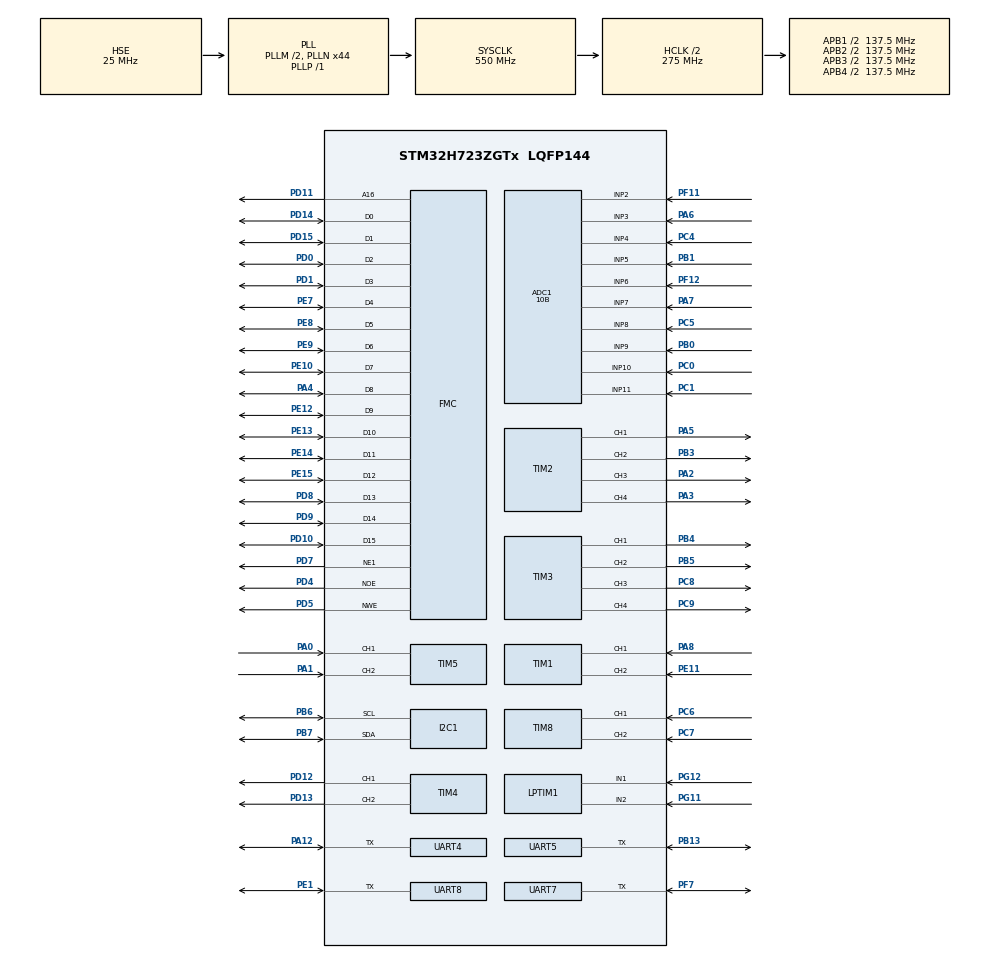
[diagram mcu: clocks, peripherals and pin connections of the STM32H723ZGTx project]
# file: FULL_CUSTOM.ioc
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ADC1.Channel-1\#ChannelRegularConversion=ADC_CHANNEL_2
ADC1.Channel-10\#ChannelRegularConversion=ADC_CHANNEL_11
ADC1.Channel-2\#ChannelRegularConversion=ADC_CHANNEL_3
ADC1.Channel-3\#ChannelRegularConversion=ADC_CHANNEL_4
ADC1.Channel-4\#ChannelRegularConversion=ADC_CHANNEL_5
ADC1.Channel-5\#ChannelRegularConversion=ADC_CHANNEL_6
ADC1.Channel-6\#ChannelRegularConversion=ADC_CHANNEL_7
ADC1.Channel-7\#ChannelRegularConversion=ADC_CHANNEL_8
ADC1.Channel-8\#ChannelRegularConversion=ADC_CHANNEL_9
ADC1.Channel-9\#ChannelRegularConversion=ADC_CHANNEL_10
ADC1.ContinuousConvMode=ENABLE
ADC1.ConversionDataManagement=ADC_CONVERSIONDATA_DMA_CIRCULAR
ADC1.EOCSelection=ADC_EOC_SEQ_CONV
ADC1.NbrOfConversion=10
ADC1.NbrOfConversionFlag=1
ADC1.OffsetNumber-1\#ChannelRegularConversion=ADC_OFFSET_NONE
ADC1.OffsetNumber-10\#ChannelRegularConversion=ADC_OFFSET_NONE
ADC1.OffsetNumber-2\#ChannelRegularConversion=ADC_OFFSET_NONE
ADC1.OffsetNumber-3\#ChannelRegularConversion=ADC_OFFSET_NONE
ADC1.OffsetNumber-4\#ChannelRegularConversion=ADC_OFFSET_NONE
ADC1.OffsetNumber-5\#ChannelRegularConversion=ADC_OFFSET_NONE
ADC1.OffsetNumber-6\#ChannelRegularConversion=ADC_OFFSET_NONE
ADC1.OffsetNumber-7\#ChannelRegularConversion=ADC_OFFSET_NONE
ADC1.OffsetNumber-8\#ChannelRegularConversion=ADC_OFFSET_NONE
ADC1.OffsetNumber-9\#ChannelRegularConversion=ADC_OFFSET_NONE
ADC1.OffsetSignedSaturation-1\#ChannelRegularConversion=DISABLE
ADC1.OffsetSignedSaturation-10\#ChannelRegularConversion=DISABLE
ADC1.OffsetSignedSaturation-2\#ChannelRegularConversion=DISABLE
ADC1.OffsetSignedSaturation-3\#ChannelRegularConversion=DISABLE
ADC1.OffsetSignedSaturation-4\#ChannelRegularConversion=DISABLE
ADC1.OffsetSignedSaturation-5\#ChannelRegularConversion=DISABLE
ADC1.OffsetSignedSaturation-6\#ChannelRegularConversion=DISABLE
ADC1.OffsetSignedSaturation-7\#ChannelRegularConversion=DISABLE
ADC1.OffsetSignedSaturation-8\#ChannelRegularConversion=DISABLE
ADC1.OffsetSignedSaturation-9\#ChannelRegularConversion=DISABLE
ADC1.OversamplingMode=ENABLE
ADC1.Rank-1\#ChannelRegularConversion=1
ADC1.Rank-10\#ChannelRegularConversion=10
ADC1.Rank-2\#ChannelRegularConversion=2
ADC1.Rank-3\#ChannelRegularConversion=3
ADC1.Rank-4\#ChannelRegularConversion=4
ADC1.Rank-5\#ChannelRegularConversion=5
ADC1.Rank-6\#ChannelRegularConversion=6
ADC1.Rank-7\#ChannelRegularConversion=7
ADC1.Rank-8\#ChannelRegularConversion=8
ADC1.Rank-9\#ChannelRegularConversion=9
ADC1.Ratio=8
ADC1.Resolution=ADC_RESOLUTION_10B
ADC1.RightBitShift=ADC_RIGHTBITSHIFT_3
ADC1.SamplingTime-1\#ChannelRegularConversion=ADC_SAMPLETIME_810CYCLES_5
ADC1.SamplingTime-10\#ChannelRegularConversion=ADC_SAMPLETIME_810CYCLES_5
ADC1.SamplingTime-2\#ChannelRegularConversion=ADC_SAMPLETIME_810CYCLES_5
ADC1.SamplingTime-3\#ChannelRegularConversion=ADC_SAMPLETIME_810CYCLES_5
ADC1.SamplingTime-4\#ChannelRegularConversion=ADC_SAMPLETIME_810CYCLES_5
ADC1.SamplingTime-5\#ChannelRegularConversion=ADC_SAMPLETIME_810CYCLES_5
ADC1.SamplingTime-6\#ChannelRegularConversion=ADC_SAMPLETIME_810CYCLES_5
ADC1.SamplingTime-7\#ChannelRegularConversion=ADC_SAMPLETIME_810CYCLES_5
ADC1.SamplingTime-8\#ChannelRegularConversion=ADC_SAMPLETIME_810CYCLES_5
ADC1.SamplingTime-9\#ChannelRegularConversion=ADC_SAMPLETIME_810CYCLES_5
ADC1.master=1
CORTEX_M7.default_mode_Activation=1
DMA2D.ColorMode=DMA2D_OUTPUT_RGB565
Dma.ADC1.0.Direction=DMA_PERIPH_TO_MEMORY
Dma.ADC1.0.EventEnable=DISABLE
Dma.ADC1.0.FIFOMode=DMA_FIFOMODE_DISABLE
Dma.ADC1.0.Instance=DMA1_Stream0
Dma.ADC1.0.MemDataAlignment=DMA_MDATAALIGN_HALFWORD
Dma.ADC1.0.MemInc=DMA_MINC_ENABLE
Dma.ADC1.0.Mode=DMA_CIRCULAR
Dma.ADC1.0.PeriphDataAlignment=DMA_PDATAALIGN_HALFWORD
Dma.ADC1.0.PeriphInc=DMA_PINC_DISABLE
Dma.ADC1.0.Polarity=HAL_DMAMUX_REQ_GEN_RISING
Dma.ADC1.0.Priority=DMA_PRIORITY_MEDIUM
Dma.ADC1.0.RequestNumber=1
Dma.ADC1.0.SignalID=NONE
Dma.ADC1.0.SyncEnable=DISABLE
Dma.ADC1.0.SyncPolarity=HAL_DMAMUX_SYNC_NO_EVENT
Dma.ADC1.0.SyncRequestNumber=1
Dma.ADC1.0.SyncSignalID=NONE
Dma.Request0=ADC1
I2C1.Timing=0x60404E72
Mcu.Family=STM32H7
Mcu.Name=STM32H723ZGTx
Mcu.Package=LQFP144
NVIC.DMA1_Stream0_IRQn=true\:0\:0\:false\:false\:true\:false\:true\:true
NVIC.PriorityGroup=NVIC_PRIORITYGROUP_4
PA0.Signal=S_TIM5_CH1
PA1.Signal=S_TIM5_CH2
PA12.Mode=Half_duplex(single_wire_mode)
PA12.Signal=UART4_TX
PA13(JTMS/SWDIO).Mode=Serial_Wire
PA13(JTMS/SWDIO).Signal=DEBUG_JTMS-SWDIO
PA14(JTCK/SWCLK).Mode=Serial_Wire
PA14(JTCK/SWCLK).Signal=DEBUG_JTCK-SWCLK
PA2.Signal=S_TIM2_CH3
PA3.Signal=S_TIM2_CH4
PA4.Signal=FMC_D8_DA8
PA5.Signal=S_TIM2_CH1_ETR
PA6.Signal=ADCx_INP3
PA7.Signal=ADCx_INP7
PA8.Signal=S_TIM1_CH1
PB0.Signal=ADCx_INP9
PB1.Signal=ADCx_INP5
PB13.Mode=Half_duplex(single_wire_mode)
PB13.Signal=UART5_TX
PB3(JTDO/TRACESWO).Signal=S_TIM2_CH2
PB4(NJTRST).Signal=S_TIM3_CH1
PB5.Signal=S_TIM3_CH2
PB6.Mode=I2C
PB6.Signal=I2C1_SCL
PB7.Mode=I2C
PB7.Signal=I2C1_SDA
PC0.Signal=ADCx_INP10
PC1.Signal=ADCx_INP11
PC4.Signal=ADCx_INP4
PC5.Signal=ADCx_INP8
PC6.Signal=S_TIM8_CH1
PC7.Signal=S_TIM8_CH2
PC8.Signal=S_TIM3_CH3
PC9.Signal=S_TIM3_CH4
PD0.Signal=FMC_D2_DA2
PD1.Signal=FMC_D3_DA3
PD10.Signal=FMC_D15_DA15
PD11.Signal=FMC_A16_CLE
PD12.Signal=S_TIM4_CH1
PD13.Signal=S_TIM4_CH2
PD14.Signal=FMC_D0_DA0
PD15.Signal=FMC_D1_DA1
PD4.Signal=FMC_NOE
PD5.Signal=FMC_NWE
PD7.Mode=NorPsramChipSelect1_1
PD7.Signal=FMC_NE1
PD8.Signal=FMC_D13_DA13
PD9.Signal=FMC_D14_DA14
PE1.Mode=Half_duplex(single_wire_mode)
PE1.Signal=UART8_TX
PE10.Signal=FMC_D7_DA7
PE11.Signal=S_TIM1_CH2
PE12.Signal=FMC_D9_DA9
PE13.Signal=FMC_D10_DA10
PE14.Signal=FMC_D11_DA11
PE15.Signal=FMC_D12_DA12
PE7.Signal=FMC_D4_DA4
PE8.Signal=FMC_D5_DA5
PE9.Signal=FMC_D6_DA6
PF11.Mode=IN2-Single-Ended
PF11.Signal=ADC1_INP2
PF12.Mode=IN6-Single-Ended
PF12.Signal=ADC1_INP6
PF7.Mode=Half_duplex(single_wire_mode)
PF7.Signal=UART7_TX
PG11.Mode=Encoder_mode_occur1
PG11.Signal=LPTIM1_IN2
PG12.Mode=Encoder_mode_occur1
PG12.Signal=LPTIM1_IN1
PH0-OSC_IN.Mode=HSE-External-Oscillator
PH0-OSC_IN.Signal=RCC_OSC_IN
PH1-OSC_OUT.Mode=HSE-External-Oscillator
PH1-OSC_OUT.Signal=RCC_OSC_OUT
ProjectManager.HeapSize=0x200
ProjectManager.StackSize=0x400
ProjectManager.TargetToolchain=STM32CubeIDE
RCC.ADCFreq_Value=100000000
RCC.APB1Freq_Value=137500000
RCC.APB2Freq_Value=137500000
RCC.APB3Freq_Value=137500000
RCC.APB4Freq_Value=137500000
RCC.CKPERSourceSelection=RCC_CLKPSOURCE_HSE
RCC.CortexFreq_Value=550000000
RCC.D1PPRE=RCC_APB3_DIV2
RCC.D2PPRE1=RCC_APB1_DIV2
RCC.D2PPRE2=RCC_APB2_DIV2
RCC.D3PPRE=RCC_APB4_DIV2
RCC.DIVM1=2
RCC.DIVM2=2
RCC.DIVN1=44
RCC.DIVN2=16
RCC.DIVP1=1
RCC.EnbaleCSS=false
RCC.HCLKFreq_Value=275000000
RCC.HPRE=RCC_HCLK_DIV2
RCC.PLL2FRACN=0
RCC.PLL3FRACN=0
RCC.PLLFRACN=0
RCC.PLLSourceVirtual=RCC_PLLSOURCE_HSE
RCC.SYSCLKFreq_VALUE=550000000
RCC.SYSCLKSource=RCC_SYSCLKSOURCE_PLLCLK
RCC.USBFreq_Value=275000000
SH.ADCx_INP10.0=ADC1_INP10,IN10-Single-Ended
SH.ADCx_INP11.0=ADC1_INP11,IN11-Single-Ended
SH.ADCx_INP3.0=ADC1_INP3,IN3-Single-Ended
SH.ADCx_INP4.0=ADC1_INP4,IN4-Single-Ended
SH.ADCx_INP5.0=ADC1_INP5,IN5-Single-Ended
SH.ADCx_INP7.0=ADC1_INP7,IN7-Single-Ended
SH.ADCx_INP8.0=ADC1_INP8,IN8-Single-Ended
SH.ADCx_INP9.0=ADC1_INP9,IN9-Single-Ended
SH.FMC_A16_CLE.0=FMC_A16,A16_1
SH.FMC_D0_DA0.0=FMC_D0,16b-d1
SH.FMC_D10_DA10.0=FMC_D10,16b-d1
SH.FMC_D11_DA11.0=FMC_D11,16b-d1
SH.FMC_D12_DA12.0=FMC_D12,16b-d1
SH.FMC_D13_DA13.0=FMC_D13,16b-d1
SH.FMC_D14_DA14.0=FMC_D14,16b-d1
SH.FMC_D15_DA15.0=FMC_D15,16b-d1
SH.FMC_D1_DA1.0=FMC_D1,16b-d1
SH.FMC_D2_DA2.0=FMC_D2,16b-d1
SH.FMC_D3_DA3.0=FMC_D3,16b-d1
SH.FMC_D4_DA4.0=FMC_D4,16b-d1
SH.FMC_D5_DA5.0=FMC_D5,16b-d1
SH.FMC_D6_DA6.0=FMC_D6,16b-d1
SH.FMC_D7_DA7.0=FMC_D7,16b-d1
SH.FMC_D8_DA8.0=FMC_D8,16b-d1
SH.FMC_D9_DA9.0=FMC_D9,16b-d1
SH.FMC_NOE.0=FMC_NOE,Lcd1
SH.FMC_NWE.0=FMC_NWE,Lcd1
SH.S_TIM1_CH1.0=TIM1_CH1,Encoder_Interface
SH.S_TIM1_CH2.0=TIM1_CH2,Encoder_Interface
SH.S_TIM2_CH1_ETR.0=TIM2_CH1,PWM Generation1 CH1
SH.S_TIM2_CH2.0=TIM2_CH2,PWM Generation2 CH2
SH.S_TIM2_CH3.0=TIM2_CH3,PWM Generation3 CH3
SH.S_TIM2_CH4.0=TIM2_CH4,PWM Generation4 CH4
SH.S_TIM3_CH1.0=TIM3_CH1,PWM Generation1 CH1
SH.S_TIM3_CH2.0=TIM3_CH2,PWM Generation2 CH2
SH.S_TIM3_CH3.0=TIM3_CH3,PWM Generation3 CH3
SH.S_TIM3_CH4.0=TIM3_CH4,PWM Generation4 CH4
SH.S_TIM4_CH1.0=TIM4_CH1,PWM Generation1 CH1
SH.S_TIM4_CH2.0=TIM4_CH2,PWM Generation2 CH2
SH.S_TIM5_CH1.0=TIM5_CH1,Encoder_Interface
SH.S_TIM5_CH2.0=TIM5_CH2,Encoder_Interface
SH.S_TIM8_CH1.0=TIM8_CH1,Encoder_Interface
SH.S_TIM8_CH2.0=TIM8_CH2,Encoder_Interface
TIM2.Channel-PWM\ Generation1\ CH1=TIM_CHANNEL_1
TIM2.Channel-PWM\ Generation2\ CH2=TIM_CHANNEL_2
TIM2.Channel-PWM\ Generation3\ CH3=TIM_CHANNEL_3
TIM2.Channel-PWM\ Generation4\ CH4=TIM_CHANNEL_4
TIM3.Channel-PWM\ Generation1\ CH1=TIM_CHANNEL_1
TIM3.Channel-PWM\ Generation2\ CH2=TIM_CHANNEL_2
TIM3.Channel-PWM\ Generation3\ CH3=TIM_CHANNEL_3
TIM3.Channel-PWM\ Generation4\ CH4=TIM_CHANNEL_4
TIM4.Channel-PWM\ Generation1\ CH1=TIM_CHANNEL_1
TIM4.Channel-PWM\ Generation2\ CH2=TIM_CHANNEL_2
VP_CRC_VS_CRC.Mode=CRC_Activate
VP_DMA2D_VS_DMA2D.Mode=DMA2D_Activate
VP_FMAC_VS_FMAC.Mode=FMAC_Activate
VP_MEMORYMAP_VS_MEMORYMAP.Mode=CurAppReg
VP_TIM2_VS_ClockSourceINT.Mode=Internal
VP_TIM3_VS_ClockSourceINT.Mode=Internal
VP_TIM4_VS_ClockSourceINT.Mode=Internal
VP_TIM6_VS_ClockSourceINT.Mode=Enable_Timer
board=custom

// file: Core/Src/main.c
/* USER CODE BEGIN Header */
/**
  ******************************************************************************
  * @file           : main.c
  * @brief          : Main program body
  ******************************************************************************
  * @attention
  *
  * Copyright (c) 2026 STMicroelectronics.
  * All rights reserved.
  *
  * This software is licensed under terms that can be found in the LICENSE file
  * in the root directory of this software component.
  * If no LICENSE file comes with this software, it is provided AS-IS.
  *
  ******************************************************************************
  */
/* USER CODE END Header */
#include "main.h"

/* USER CODE BEGIN Includes */
#include "stdint.h"
/* USER CODE END Includes */

ADC_HandleTypeDef hadc1;
DMA_HandleTypeDef hdma_adc1;

CRC_HandleTypeDef hcrc;

DMA2D_HandleTypeDef hdma2d;

FMAC_HandleTypeDef hfmac;

I2C_HandleTypeDef hi2c1;

LPTIM_HandleTypeDef hlptim1;

TIM_HandleTypeDef htim1;
TIM_HandleTypeDef htim2;
TIM_HandleTypeDef htim3;
TIM_HandleTypeDef htim4;
TIM_HandleTypeDef htim5;
TIM_HandleTypeDef htim6;
TIM_HandleTypeDef htim8;

UART_HandleTypeDef huart4;
UART_HandleTypeDef huart5;
UART_HandleTypeDef huart7;
UART_HandleTypeDef huart8;

SRAM_HandleTypeDef hsram1;

/* USER CODE BEGIN PV */
uint16_t ADC_Value[10];
uint16_t ADC_maped[10];
/* USER CODE END PV */

void SystemClock_Config(void);
static void MPU_Config(void);
static void MX_GPIO_Init(void);
static void MX_DMA_Init(void);
static void MX_ADC1_Init(void);
static void MX_TIM2_Init(void);
static void MX_TIM3_Init(void);
static void MX_TIM4_Init(void);
static void MX_TIM5_Init(void);
static void MX_DMA2D_Init(void);
static void MX_FMC_Init(void);
static void MX_I2C1_Init(void);
static void MX_UART4_Init(void);
static void MX_CRC_Init(void);
static void MX_FMAC_Init(void);
static void MX_TIM6_Init(void);
static void MX_UART5_Init(void);
static void MX_UART7_Init(void);
static void MX_UART8_Init(void);
static void MX_LPTIM1_Init(void);
static void MX_TIM1_Init(void);
static void MX_TIM8_Init(void);
/* USER CODE BEGIN PFP */

//Map function with overflow/underflow protection
uint16_t map(uint16_t input,
		uint16_t input_MIN,uint16_t input_MAX,
		uint16_t output_MIN,uint16_t output_MAX){

	if (input_MAX <= input_MIN)
        return output_MIN;

    if (input <= input_MIN)
        return output_MIN;

    if (input >= input_MAX)
        return output_MAX;

    int32_t input_range  = (int32_t)input_MAX  - input_MIN;
    int32_t output_range = (int32_t)output_MAX - output_MIN;

    return (uint16_t)(((int32_t)(input - input_MIN) * output_range) / input_range + output_MIN);
}

void HAL_ADC_ConvCpltCallback(ADC_HandleTypeDef *hadc){
	for(int i=0;i<10;i++){
		ADC_maped[i]=map(ADC_Value[i],25,1023,0,1023);
	}
}
/* USER CODE END PFP */

int main(void)
{

  /* MPU Configuration--------------------------------------------------------*/
  MPU_Config();

  /* MCU Configuration--------------------------------------------------------*/

  /* Reset of all peripherals, Initializes the Flash interface and the Systick. */
  HAL_Init();

  /* Configure the system clock */
  SystemClock_Config();

  /* Initialize all configured peripherals */
  MX_GPIO_Init();
  MX_DMA_Init();
  MX_ADC1_Init();
  MX_TIM2_Init();
  MX_TIM3_Init();
  MX_TIM4_Init();
  MX_TIM5_Init();
  MX_DMA2D_Init();
  MX_FMC_Init();
  MX_I2C1_Init();
  MX_UART4_Init();
  MX_CRC_Init();
  MX_FMAC_Init();
  MX_TIM6_Init();
  MX_UART5_Init();
  MX_UART7_Init();
  MX_UART8_Init();
  MX_LPTIM1_Init();
  MX_TIM1_Init();
  MX_TIM8_Init();
  /* USER CODE BEGIN 2 */
  //just a tiny difference
  //HAL_ADCEx_Calibration_Start(&hadc1, ADC_CALIB_OFFSET, ADC_SINGLE_ENDED);
  HAL_ADC_Start_DMA(&hadc1, (uint32_t *)ADC_Value, 10);
  /* USER CODE END 2 */

  /* Infinite loop */
  while (1)
  {

  }
}

void SystemClock_Config(void)
{
  RCC_OscInitTypeDef RCC_OscInitStruct = {0};
  RCC_ClkInitTypeDef RCC_ClkInitStruct = {0};

  /** Supply configuration update enable
  */
  HAL_PWREx_ConfigSupply(PWR_LDO_SUPPLY);

  /** Configure the main internal regulator output voltage
  */
  __HAL_PWR_VOLTAGESCALING_CONFIG(PWR_REGULATOR_VOLTAGE_SCALE0);

  while(!__HAL_PWR_GET_FLAG(PWR_FLAG_VOSRDY)) {}

  /** Initializes the RCC Oscillators according to the specified parameters
  * in the RCC_OscInitTypeDef structure.
  */
  RCC_OscInitStruct.OscillatorType = RCC_OSCILLATORTYPE_HSE;
  RCC_OscInitStruct.HSEState = RCC_HSE_ON;
  RCC_OscInitStruct.PLL.PLLState = RCC_PLL_ON;
  RCC_OscInitStruct.PLL.PLLSource = RCC_PLLSOURCE_HSE;
  RCC_OscInitStruct.PLL.PLLM = 2;
  RCC_OscInitStruct.PLL.PLLN = 44;
  RCC_OscInitStruct.PLL.PLLP = 1;
  RCC_OscInitStruct.PLL.PLLQ = 2;
  RCC_OscInitStruct.PLL.PLLR = 2;
  RCC_OscInitStruct.PLL.PLLRGE = RCC_PLL1VCIRANGE_3;
  RCC_OscInitStruct.PLL.PLLVCOSEL = RCC_PLL1VCOWIDE;
  RCC_OscInitStruct.PLL.PLLFRACN = 0;
  if (HAL_RCC_OscConfig(&RCC_OscInitStruct) != HAL_OK)
  {
    Error_Handler();
  }

  /** Initializes the CPU, AHB and APB buses clocks
  */
  RCC_ClkInitStruct.ClockType = RCC_CLOCKTYPE_HCLK|RCC_CLOCKTYPE_SYSCLK
                              |RCC_CLOCKTYPE_PCLK1|RCC_CLOCKTYPE_PCLK2
                              |RCC_CLOCKTYPE_D3PCLK1|RCC_CLOCKTYPE_D1PCLK1;
  RCC_ClkInitStruct.SYSCLKSource = RCC_SYSCLKSOURCE_PLLCLK;
  RCC_ClkInitStruct.SYSCLKDivider = RCC_SYSCLK_DIV1;
  RCC_ClkInitStruct.AHBCLKDivider = RCC_HCLK_DIV2;
  RCC_ClkInitStruct.APB3CLKDivider = RCC_APB3_DIV2;
  RCC_ClkInitStruct.APB1CLKDivider = RCC_APB1_DIV2;
  RCC_ClkInitStruct.APB2CLKDivider = RCC_APB2_DIV2;
  RCC_ClkInitStruct.APB4CLKDivider = RCC_APB4_DIV2;

  if (HAL_RCC_ClockConfig(&RCC_ClkInitStruct, FLASH_LATENCY_3) != HAL_OK)
  {
    Error_Handler();
  }
}

static void MX_ADC1_Init(void)
{

  ADC_MultiModeTypeDef multimode = {0};
  ADC_ChannelConfTypeDef sConfig = {0};

  /** Common config
  */
  hadc1.Instance = ADC1;
  hadc1.Init.ClockPrescaler = ADC_CLOCK_ASYNC_DIV1;
  hadc1.Init.Resolution = ADC_RESOLUTION_10B;
  hadc1.Init.ScanConvMode = ADC_SCAN_ENABLE;
  hadc1.Init.EOCSelection = ADC_EOC_SEQ_CONV;
  hadc1.Init.LowPowerAutoWait = DISABLE;
  hadc1.Init.ContinuousConvMode = ENABLE;
  hadc1.Init.NbrOfConversion = 10;
  hadc1.Init.DiscontinuousConvMode = DISABLE;
  hadc1.Init.ExternalTrigConv = ADC_SOFTWARE_START;
  hadc1.Init.ExternalTrigConvEdge = ADC_EXTERNALTRIGCONVEDGE_NONE;
  hadc1.Init.ConversionDataManagement = ADC_CONVERSIONDATA_DMA_CIRCULAR;
  hadc1.Init.Overrun = ADC_OVR_DATA_PRESERVED;
  hadc1.Init.LeftBitShift = ADC_LEFTBITSHIFT_NONE;
  hadc1.Init.OversamplingMode = ENABLE;
  hadc1.Init.Oversampling.Ratio = 8;
  hadc1.Init.Oversampling.RightBitShift = ADC_RIGHTBITSHIFT_3;
  hadc1.Init.Oversampling.TriggeredMode = ADC_TRIGGEREDMODE_SINGLE_TRIGGER;
  hadc1.Init.Oversampling.OversamplingStopReset = ADC_REGOVERSAMPLING_CONTINUED_MODE;
  if (HAL_ADC_Init(&hadc1) != HAL_OK)
  {
    Error_Handler();
  }

  /** Configure the ADC multi-mode
  */
  multimode.Mode = ADC_MODE_INDEPENDENT;
  if (HAL_ADCEx_MultiModeConfigChannel(&hadc1, &multimode) != HAL_OK)
  {
    Error_Handler();
  }

  /** Configure Regular Channel
  */
  sConfig.Channel = ADC_CHANNEL_2;
  sConfig.Rank = ADC_REGULAR_RANK_1;
  sConfig.SamplingTime = ADC_SAMPLETIME_810CYCLES_5;
  sConfig.SingleDiff = ADC_SINGLE_ENDED;
  sConfig.OffsetNumber = ADC_OFFSET_NONE;
  sConfig.Offset = 0;
  sConfig.OffsetSignedSaturation = DISABLE;
  if (HAL_ADC_ConfigChannel(&hadc1, &sConfig) != HAL_OK)
  {
    Error_Handler();
  }

  /** Configure Regular Channel
  */
  sConfig.Channel = ADC_CHANNEL_3;
  sConfig.Rank = ADC_REGULAR_RANK_2;
  if (HAL_ADC_ConfigChannel(&hadc1, &sConfig) != HAL_OK)
  {
    Error_Handler();
  }

  /** Configure Regular Channel
  */
  sConfig.Channel = ADC_CHANNEL_4;
  sConfig.Rank = ADC_REGULAR_RANK_3;
  if (HAL_ADC_ConfigChannel(&hadc1, &sConfig) != HAL_OK)
  {
    Error_Handler();
  }

  /** Configure Regular Channel
  */
  sConfig.Channel = ADC_CHANNEL_5;
  sConfig.Rank = ADC_REGULAR_RANK_4;
  if (HAL_ADC_ConfigChannel(&hadc1, &sConfig) != HAL_OK)
  {
    Error_Handler();
  }

  /** Configure Regular Channel
  */
  sConfig.Channel = ADC_CHANNEL_6;
  sConfig.Rank = ADC_REGULAR_RANK_5;
  if (HAL_ADC_ConfigChannel(&hadc1, &sConfig) != HAL_OK)
  {
    Error_Handler();
  }

  /** Configure Regular Channel
  */
  sConfig.Channel = ADC_CHANNEL_7;
  sConfig.Rank = ADC_REGULAR_RANK_6;
  if (HAL_ADC_ConfigChannel(&hadc1, &sConfig) != HAL_OK)
  {
    Error_Handler();
  }

  /** Configure Regular Channel
  */
  sConfig.Channel = ADC_CHANNEL_8;
  sConfig.Rank = ADC_REGULAR_RANK_7;
  if (HAL_ADC_ConfigChannel(&hadc1, &sConfig) != HAL_OK)
  {
    Error_Handler();
  }

  /** Configure Regular Channel
  */
  sConfig.Channel = ADC_CHANNEL_9;
  sConfig.Rank = ADC_REGULAR_RANK_8;
  if (HAL_ADC_ConfigChannel(&hadc1, &sConfig) != HAL_OK)
  {
    Error_Handler();
  }

  /** Configure Regular Channel
  */
  sConfig.Channel = ADC_CHANNEL_10;
  sConfig.Rank = ADC_REGULAR_RANK_9;
  if (HAL_ADC_ConfigChannel(&hadc1, &sConfig) != HAL_OK)
  {
    Error_Handler();
  }

  /** Configure Regular Channel
  */
  sConfig.Channel = ADC_CHANNEL_11;
  sConfig.Rank = ADC_REGULAR_RANK_10;
  if (HAL_ADC_ConfigChannel(&hadc1, &sConfig) != HAL_OK)
  {
    Error_Handler();
  }

}

static void MX_CRC_Init(void)
{

  hcrc.Instance = CRC;
  hcrc.Init.DefaultPolynomialUse = DEFAULT_POLYNOMIAL_ENABLE;
  hcrc.Init.DefaultInitValueUse = DEFAULT_INIT_VALUE_ENABLE;
  hcrc.Init.InputDataInversionMode = CRC_INPUTDATA_INVERSION_NONE;
  hcrc.Init.OutputDataInversionMode = CRC_OUTPUTDATA_INVERSION_DISABLE;
  hcrc.InputDataFormat = CRC_INPUTDATA_FORMAT_BYTES;
  if (HAL_CRC_Init(&hcrc) != HAL_OK)
  {
    Error_Handler();
  }

}

static void MX_DMA2D_Init(void)
{

  hdma2d.Instance = DMA2D;
  hdma2d.Init.Mode = DMA2D_M2M;
  hdma2d.Init.ColorMode = DMA2D_OUTPUT_RGB565;
  hdma2d.Init.OutputOffset = 0;
  hdma2d.LayerCfg[1].InputOffset = 0;
  hdma2d.LayerCfg[1].InputColorMode = DMA2D_INPUT_RGB565;
  hdma2d.LayerCfg[1].AlphaMode = DMA2D_NO_MODIF_ALPHA;
  hdma2d.LayerCfg[1].InputAlpha = 0;
  hdma2d.LayerCfg[1].AlphaInverted = DMA2D_REGULAR_ALPHA;
  hdma2d.LayerCfg[1].RedBlueSwap = DMA2D_RB_REGULAR;
  hdma2d.LayerCfg[1].ChromaSubSampling = DMA2D_NO_CSS;
  if (HAL_DMA2D_Init(&hdma2d) != HAL_OK)
  {
    Error_Handler();
  }
  if (HAL_DMA2D_ConfigLayer(&hdma2d, 1) != HAL_OK)
  {
    Error_Handler();
  }

}

static void MX_FMAC_Init(void)
{

  hfmac.Instance = FMAC;
  if (HAL_FMAC_Init(&hfmac) != HAL_OK)
  {
    Error_Handler();
  }

}

static void MX_I2C1_Init(void)
{

  hi2c1.Instance = I2C1;
  hi2c1.Init.Timing = 0x60404E72;
  hi2c1.Init.OwnAddress1 = 0;
  hi2c1.Init.AddressingMode = I2C_ADDRESSINGMODE_7BIT;
  hi2c1.Init.DualAddressMode = I2C_DUALADDRESS_DISABLE;
  hi2c1.Init.OwnAddress2 = 0;
  hi2c1.Init.OwnAddress2Masks = I2C_OA2_NOMASK;
  hi2c1.Init.GeneralCallMode = I2C_GENERALCALL_DISABLE;
  hi2c1.Init.NoStretchMode = I2C_NOSTRETCH_DISABLE;
  if (HAL_I2C_Init(&hi2c1) != HAL_OK)
  {
    Error_Handler();
  }

  /** Configure Analogue filter
  */
  if (HAL_I2CEx_ConfigAnalogFilter(&hi2c1, I2C_ANALOGFILTER_ENABLE) != HAL_OK)
  {
    Error_Handler();
  }

  /** Configure Digital filter
  */
  if (HAL_I2CEx_ConfigDigitalFilter(&hi2c1, 0) != HAL_OK)
  {
    Error_Handler();
  }

}

static void MX_LPTIM1_Init(void)
{

  hlptim1.Instance = LPTIM1;
  hlptim1.Init.Clock.Source = LPTIM_CLOCKSOURCE_APBCLOCK_LPOSC;
  hlptim1.Init.Clock.Prescaler = LPTIM_PRESCALER_DIV1;
  hlptim1.Init.UltraLowPowerClock.Polarity = LPTIM_CLOCKPOLARITY_RISING;
  hlptim1.Init.UltraLowPowerClock.SampleTime = LPTIM_CLOCKSAMPLETIME_DIRECTTRANSITION;
  hlptim1.Init.Trigger.Source = LPTIM_TRIGSOURCE_SOFTWARE;
  hlptim1.Init.OutputPolarity = LPTIM_OUTPUTPOLARITY_HIGH;
  hlptim1.Init.UpdateMode = LPTIM_UPDATE_IMMEDIATE;
  hlptim1.Init.CounterSource = LPTIM_COUNTERSOURCE_EXTERNAL;
  hlptim1.Init.Input1Source = LPTIM_INPUT1SOURCE_GPIO;
  hlptim1.Init.Input2Source = LPTIM_INPUT2SOURCE_GPIO;
  if (HAL_LPTIM_Init(&hlptim1) != HAL_OK)
  {
    Error_Handler();
  }

}

static void MX_TIM1_Init(void)
{

  TIM_Encoder_InitTypeDef sConfig = {0};
  TIM_MasterConfigTypeDef sMasterConfig = {0};

  htim1.Instance = TIM1;
  htim1.Init.Prescaler = 0;
  htim1.Init.CounterMode = TIM_COUNTERMODE_UP;
  htim1.Init.Period = 65535;
  htim1.Init.ClockDivision = TIM_CLOCKDIVISION_DIV1;
  htim1.Init.RepetitionCounter = 0;
  htim1.Init.AutoReloadPreload = TIM_AUTORELOAD_PRELOAD_DISABLE;
  sConfig.EncoderMode = TIM_ENCODERMODE_TI1;
  sConfig.IC1Polarity = TIM_ICPOLARITY_RISING;
  sConfig.IC1Selection = TIM_ICSELECTION_DIRECTTI;
  sConfig.IC1Prescaler = TIM_ICPSC_DIV1;
  sConfig.IC1Filter = 0;
  sConfig.IC2Polarity = TIM_ICPOLARITY_RISING;
  sConfig.IC2Selection = TIM_ICSELECTION_DIRECTTI;
  sConfig.IC2Prescaler = TIM_ICPSC_DIV1;
  sConfig.IC2Filter = 0;
  if (HAL_TIM_Encoder_Init(&htim1, &sConfig) != HAL_OK)
  {
    Error_Handler();
  }
  sMasterConfig.MasterOutputTrigger = TIM_TRGO_RESET;
  sMasterConfig.MasterOutputTrigger2 = TIM_TRGO2_RESET;
  sMasterConfig.MasterSlaveMode = TIM_MASTERSLAVEMODE_DISABLE;
  if (HAL_TIMEx_MasterConfigSynchronization(&htim1, &sMasterConfig) != HAL_OK)
  {
    Error_Handler();
  }

}

static void MX_TIM2_Init(void)
{

  TIM_ClockConfigTypeDef sClockSourceConfig = {0};
  TIM_MasterConfigTypeDef sMasterConfig = {0};
  TIM_OC_InitTypeDef sConfigOC = {0};

  htim2.Instance = TIM2;
  htim2.Init.Prescaler = 0;
  htim2.Init.CounterMode = TIM_COUNTERMODE_UP;
  htim2.Init.Period = 4294967295;
  htim2.Init.ClockDivision = TIM_CLOCKDIVISION_DIV1;
  htim2.Init.AutoReloadPreload = TIM_AUTORELOAD_PRELOAD_DISABLE;
  if (HAL_TIM_Base_Init(&htim2) != HAL_OK)
  {
    Error_Handler();
  }
  sClockSourceConfig.ClockSource = TIM_CLOCKSOURCE_INTERNAL;
  if (HAL_TIM_ConfigClockSource(&htim2, &sClockSourceConfig) != HAL_OK)
  {
    Error_Handler();
  }
  if (HAL_TIM_PWM_Init(&htim2) != HAL_OK)
  {
    Error_Handler();
  }
  sMasterConfig.MasterOutputTrigger = TIM_TRGO_RESET;
  sMasterConfig.MasterSlaveMode = TIM_MASTERSLAVEMODE_DISABLE;
  if (HAL_TIMEx_MasterConfigSynchronization(&htim2, &sMasterConfig) != HAL_OK)
  {
    Error_Handler();
  }
  sConfigOC.OCMode = TIM_OCMODE_PWM1;
  sConfigOC.Pulse = 0;
  sConfigOC.OCPolarity = TIM_OCPOLARITY_HIGH;
  sConfigOC.OCFastMode = TIM_OCFAST_DISABLE;
  if (HAL_TIM_PWM_ConfigChannel(&htim2, &sConfigOC, TIM_CHANNEL_1) != HAL_OK)
  {
    Error_Handler();
  }
  if (HAL_TIM_PWM_ConfigChannel(&htim2, &sConfigOC, TIM_CHANNEL_2) != HAL_OK)
  {
    Error_Handler();
  }
  if (HAL_TIM_PWM_ConfigChannel(&htim2, &sConfigOC, TIM_CHANNEL_3) != HAL_OK)
  {
    Error_Handler();
  }
  if (HAL_TIM_PWM_ConfigChannel(&htim2, &sConfigOC, TIM_CHANNEL_4) != HAL_OK)
  {
    Error_Handler();
  }
  HAL_TIM_MspPostInit(&htim2);

}

static void MX_TIM3_Init(void)
{

  TIM_ClockConfigTypeDef sClockSourceConfig = {0};
  TIM_MasterConfigTypeDef sMasterConfig = {0};
  TIM_OC_InitTypeDef sConfigOC = {0};

  htim3.Instance = TIM3;
  htim3.Init.Prescaler = 0;
  htim3.Init.CounterMode = TIM_COUNTERMODE_UP;
  htim3.Init.Period = 65535;
  htim3.Init.ClockDivision = TIM_CLOCKDIVISION_DIV1;
  htim3.Init.AutoReloadPreload = TIM_AUTORELOAD_PRELOAD_DISABLE;
  if (HAL_TIM_Base_Init(&htim3) != HAL_OK)
  {
    Error_Handler();
  }
  sClockSourceConfig.ClockSource = TIM_CLOCKSOURCE_INTERNAL;
  if (HAL_TIM_ConfigClockSource(&htim3, &sClockSourceConfig) != HAL_OK)
  {
    Error_Handler();
  }
  if (HAL_TIM_PWM_Init(&htim3) != HAL_OK)
  {
    Error_Handler();
  }
  sMasterConfig.MasterOutputTrigger = TIM_TRGO_RESET;
  sMasterConfig.MasterSlaveMode = TIM_MASTERSLAVEMODE_DISABLE;
  if (HAL_TIMEx_MasterConfigSynchronization(&htim3, &sMasterConfig) != HAL_OK)
  {
    Error_Handler();
  }
  sConfigOC.OCMode = TIM_OCMODE_PWM1;
  sConfigOC.Pulse = 0;
  sConfigOC.OCPolarity = TIM_OCPOLARITY_HIGH;
  sConfigOC.OCFastMode = TIM_OCFAST_DISABLE;
  if (HAL_TIM_PWM_ConfigChannel(&htim3, &sConfigOC, TIM_CHANNEL_1) != HAL_OK)
  {
    Error_Handler();
  }
  if (HAL_TIM_PWM_ConfigChannel(&htim3, &sConfigOC, TIM_CHANNEL_2) != HAL_OK)
  {
    Error_Handler();
  }
  if (HAL_TIM_PWM_ConfigChannel(&htim3, &sConfigOC, TIM_CHANNEL_3) != HAL_OK)
  {
    Error_Handler();
  }
  if (HAL_TIM_PWM_ConfigChannel(&htim3, &sConfigOC, TIM_CHANNEL_4) != HAL_OK)
  {
    Error_Handler();
  }
  HAL_TIM_MspPostInit(&htim3);

}

static void MX_TIM4_Init(void)
{

  TIM_ClockConfigTypeDef sClockSourceConfig = {0};
  TIM_MasterConfigTypeDef sMasterConfig = {0};
  TIM_OC_InitTypeDef sConfigOC = {0};

  htim4.Instance = TIM4;
  htim4.Init.Prescaler = 0;
  htim4.Init.CounterMode = TIM_COUNTERMODE_UP;
  htim4.Init.Period = 65535;
  htim4.Init.ClockDivision = TIM_CLOCKDIVISION_DIV1;
  htim4.Init.AutoReloadPreload = TIM_AUTORELOAD_PRELOAD_DISABLE;
  if (HAL_TIM_Base_Init(&htim4) != HAL_OK)
  {
    Error_Handler();
  }
  sClockSourceConfig.ClockSource = TIM_CLOCKSOURCE_INTERNAL;
  if (HAL_TIM_ConfigClockSource(&htim4, &sClockSourceConfig) != HAL_OK)
  {
    Error_Handler();
  }
  if (HAL_TIM_PWM_Init(&htim4) != HAL_OK)
  {
    Error_Handler();
  }
  sMasterConfig.MasterOutputTrigger = TIM_TRGO_RESET;
  sMasterConfig.MasterSlaveMode = TIM_MASTERSLAVEMODE_DISABLE;
  if (HAL_TIMEx_MasterConfigSynchronization(&htim4, &sMasterConfig) != HAL_OK)
  {
    Error_Handler();
  }
  sConfigOC.OCMode = TIM_OCMODE_PWM1;
  sConfigOC.Pulse = 0;
  sConfigOC.OCPolarity = TIM_OCPOLARITY_HIGH;
  sConfigOC.OCFastMode = TIM_OCFAST_DISABLE;
  if (HAL_TIM_PWM_ConfigChannel(&htim4, &sConfigOC, TIM_CHANNEL_1) != HAL_OK)
  {
    Error_Handler();
  }
  if (HAL_TIM_PWM_ConfigChannel(&htim4, &sConfigOC, TIM_CHANNEL_2) != HAL_OK)
  {
    Error_Handler();
  }
  HAL_TIM_MspPostInit(&htim4);

}

static void MX_TIM5_Init(void)
{

  TIM_Encoder_InitTypeDef sConfig = {0};
  TIM_MasterConfigTypeDef sMasterConfig = {0};

  htim5.Instance = TIM5;
  htim5.Init.Prescaler = 0;
  htim5.Init.CounterMode = TIM_COUNTERMODE_UP;
  htim5.Init.Period = 4294967295;
  htim5.Init.ClockDivision = TIM_CLOCKDIVISION_DIV1;
  htim5.Init.AutoReloadPreload = TIM_AUTORELOAD_PRELOAD_DISABLE;
  sConfig.EncoderMode = TIM_ENCODERMODE_TI1;
  sConfig.IC1Polarity = TIM_ICPOLARITY_RISING;
  sConfig.IC1Selection = TIM_ICSELECTION_DIRECTTI;
  sConfig.IC1Prescaler = TIM_ICPSC_DIV1;
  sConfig.IC1Filter = 0;
  sConfig.IC2Polarity = TIM_ICPOLARITY_RISING;
  sConfig.IC2Selection = TIM_ICSELECTION_DIRECTTI;
  sConfig.IC2Prescaler = TIM_ICPSC_DIV1;
  sConfig.IC2Filter = 0;
  if (HAL_TIM_Encoder_Init(&htim5, &sConfig) != HAL_OK)
  {
    Error_Handler();
  }
  sMasterConfig.MasterOutputTrigger = TIM_TRGO_RESET;
  sMasterConfig.MasterSlaveMode = TIM_MASTERSLAVEMODE_DISABLE;
  if (HAL_TIMEx_MasterConfigSynchronization(&htim5, &sMasterConfig) != HAL_OK)
  {
    Error_Handler();
  }

}

static void MX_TIM6_Init(void)
{

  TIM_MasterConfigTypeDef sMasterConfig = {0};

  htim6.Instance = TIM6;
  htim6.Init.Prescaler = 0;
  htim6.Init.CounterMode = TIM_COUNTERMODE_UP;
  htim6.Init.Period = 65535;
  htim6.Init.AutoReloadPreload = TIM_AUTORELOAD_PRELOAD_DISABLE;
  if (HAL_TIM_Base_Init(&htim6) != HAL_OK)
  {
    Error_Handler();
  }
  sMasterConfig.MasterOutputTrigger = TIM_TRGO_RESET;
  sMasterConfig.MasterSlaveMode = TIM_MASTERSLAVEMODE_DISABLE;
  if (HAL_TIMEx_MasterConfigSynchronization(&htim6, &sMasterConfig) != HAL_OK)
  {
    Error_Handler();
  }

}

static void MX_TIM8_Init(void)
{

  TIM_Encoder_InitTypeDef sConfig = {0};
  TIM_MasterConfigTypeDef sMasterConfig = {0};

  htim8.Instance = TIM8;
  htim8.Init.Prescaler = 0;
  htim8.Init.CounterMode = TIM_COUNTERMODE_UP;
  htim8.Init.Period = 65535;
  htim8.Init.ClockDivision = TIM_CLOCKDIVISION_DIV1;
  htim8.Init.RepetitionCounter = 0;
  htim8.Init.AutoReloadPreload = TIM_AUTORELOAD_PRELOAD_DISABLE;
  sConfig.EncoderMode = TIM_ENCODERMODE_TI1;
  sConfig.IC1Polarity = TIM_ICPOLARITY_RISING;
  sConfig.IC1Selection = TIM_ICSELECTION_DIRECTTI;
  sConfig.IC1Prescaler = TIM_ICPSC_DIV1;
  sConfig.IC1Filter = 0;
  sConfig.IC2Polarity = TIM_ICPOLARITY_RISING;
  sConfig.IC2Selection = TIM_ICSELECTION_DIRECTTI;
  sConfig.IC2Prescaler = TIM_ICPSC_DIV1;
  sConfig.IC2Filter = 0;
  if (HAL_TIM_Encoder_Init(&htim8, &sConfig) != HAL_OK)
  {
    Error_Handler();
  }
  sMasterConfig.MasterOutputTrigger = TIM_TRGO_RESET;
  sMasterConfig.MasterOutputTrigger2 = TIM_TRGO2_RESET;
  sMasterConfig.MasterSlaveMode = TIM_MASTERSLAVEMODE_DISABLE;
  if (HAL_TIMEx_MasterConfigSynchronization(&htim8, &sMasterConfig) != HAL_OK)
  {
    Error_Handler();
  }

}

static void MX_UART4_Init(void)
{

  huart4.Instance = UART4;
  huart4.Init.BaudRate = 115200;
  huart4.Init.WordLength = UART_WORDLENGTH_8B;
  huart4.Init.StopBits = UART_STOPBITS_1;
  huart4.Init.Parity = UART_PARITY_NONE;
  huart4.Init.Mode = UART_MODE_TX_RX;
  huart4.Init.HwFlowCtl = UART_HWCONTROL_NONE;
  huart4.Init.OverSampling = UART_OVERSAMPLING_16;
  huart4.Init.OneBitSampling = UART_ONE_BIT_SAMPLE_DISABLE;
  huart4.Init.ClockPrescaler = UART_PRESCALER_DIV1;
  huart4.AdvancedInit.AdvFeatureInit = UART_ADVFEATURE_NO_INIT;
  if (HAL_HalfDuplex_Init(&huart4) != HAL_OK)
  {
    Error_Handler();
  }
  if (HAL_UARTEx_SetTxFifoThreshold(&huart4, UART_TXFIFO_THRESHOLD_1_8) != HAL_OK)
  {
    Error_Handler();
  }
  if (HAL_UARTEx_SetRxFifoThreshold(&huart4, UART_RXFIFO_THRESHOLD_1_8) != HAL_OK)
  {
    Error_Handler();
  }
  if (HAL_UARTEx_DisableFifoMode(&huart4) != HAL_OK)
  {
    Error_Handler();
  }

}

static void MX_UART5_Init(void)
{

  huart5.Instance = UART5;
  huart5.Init.BaudRate = 115200;
  huart5.Init.WordLength = UART_WORDLENGTH_8B;
  huart5.Init.StopBits = UART_STOPBITS_1;
  huart5.Init.Parity = UART_PARITY_NONE;
  huart5.Init.Mode = UART_MODE_TX_RX;
  huart5.Init.HwFlowCtl = UART_HWCONTROL_NONE;
  huart5.Init.OverSampling = UART_OVERSAMPLING_16;
  huart5.Init.OneBitSampling = UART_ONE_BIT_SAMPLE_DISABLE;
  huart5.Init.ClockPrescaler = UART_PRESCALER_DIV1;
  huart5.AdvancedInit.AdvFeatureInit = UART_ADVFEATURE_NO_INIT;
  if (HAL_HalfDuplex_Init(&huart5) != HAL_OK)
  {
    Error_Handler();
  }
  if (HAL_UARTEx_SetTxFifoThreshold(&huart5, UART_TXFIFO_THRESHOLD_1_8) != HAL_OK)
  {
    Error_Handler();
  }
  if (HAL_UARTEx_SetRxFifoThreshold(&huart5, UART_RXFIFO_THRESHOLD_1_8) != HAL_OK)
  {
    Error_Handler();
  }
  if (HAL_UARTEx_DisableFifoMode(&huart5) != HAL_OK)
  {
    Error_Handler();
  }

}

static void MX_UART7_Init(void)
{

  huart7.Instance = UART7;
  huart7.Init.BaudRate = 115200;
  huart7.Init.WordLength = UART_WORDLENGTH_8B;
  huart7.Init.StopBits = UART_STOPBITS_1;
  huart7.Init.Parity = UART_PARITY_NONE;
  huart7.Init.Mode = UART_MODE_TX_RX;
  huart7.Init.HwFlowCtl = UART_HWCONTROL_NONE;
  huart7.Init.OverSampling = UART_OVERSAMPLING_16;
  huart7.Init.OneBitSampling = UART_ONE_BIT_SAMPLE_DISABLE;
  huart7.Init.ClockPrescaler = UART_PRESCALER_DIV1;
  huart7.AdvancedInit.AdvFeatureInit = UART_ADVFEATURE_NO_INIT;
  if (HAL_HalfDuplex_Init(&huart7) != HAL_OK)
  {
    Error_Handler();
  }
  if (HAL_UARTEx_SetTxFifoThreshold(&huart7, UART_TXFIFO_THRESHOLD_1_8) != HAL_OK)
  {
    Error_Handler();
  }
  if (HAL_UARTEx_SetRxFifoThreshold(&huart7, UART_RXFIFO_THRESHOLD_1_8) != HAL_OK)
  {
    Error_Handler();
  }
  if (HAL_UARTEx_DisableFifoMode(&huart7) != HAL_OK)
  {
    Error_Handler();
  }

}

static void MX_UART8_Init(void)
{

  huart8.Instance = UART8;
  huart8.Init.BaudRate = 115200;
  huart8.Init.WordLength = UART_WORDLENGTH_8B;
  huart8.Init.StopBits = UART_STOPBITS_1;
  huart8.Init.Parity = UART_PARITY_NONE;
  huart8.Init.Mode = UART_MODE_TX_RX;
  huart8.Init.HwFlowCtl = UART_HWCONTROL_NONE;
  huart8.Init.OverSampling = UART_OVERSAMPLING_16;
  huart8.Init.OneBitSampling = UART_ONE_BIT_SAMPLE_DISABLE;
  huart8.Init.ClockPrescaler = UART_PRESCALER_DIV1;
  huart8.AdvancedInit.AdvFeatureInit = UART_ADVFEATURE_NO_INIT;
  if (HAL_HalfDuplex_Init(&huart8) != HAL_OK)
  {
    Error_Handler();
  }
  if (HAL_UARTEx_SetTxFifoThreshold(&huart8, UART_TXFIFO_THRESHOLD_1_8) != HAL_OK)
  {
    Error_Handler();
  }
  if (HAL_UARTEx_SetRxFifoThreshold(&huart8, UART_RXFIFO_THRESHOLD_1_8) != HAL_OK)
  {
    Error_Handler();
  }
  if (HAL_UARTEx_DisableFifoMode(&huart8) != HAL_OK)
  {
    Error_Handler();
  }

}

static void MX_DMA_Init(void)
{

  /* DMA controller clock enable */
  __HAL_RCC_DMA1_CLK_ENABLE();

  /* DMA interrupt init */
  /* DMA1_Stream0_IRQn interrupt configuration */
  HAL_NVIC_SetPriority(DMA1_Stream0_IRQn, 0, 0);
  HAL_NVIC_EnableIRQ(DMA1_Stream0_IRQn);

}

/* FMC initialization function */
static void MX_FMC_Init(void)
{

  FMC_NORSRAM_TimingTypeDef Timing = {0};

  /** Perform the SRAM1 memory initialization sequence
  */
  hsram1.Instance = FMC_NORSRAM_DEVICE;
  hsram1.Extended = FMC_NORSRAM_EXTENDED_DEVICE;
  /* hsram1.Init */
  hsram1.Init.NSBank = FMC_NORSRAM_BANK1;
  hsram1.Init.DataAddressMux = FMC_DATA_ADDRESS_MUX_DISABLE;
  hsram1.Init.MemoryType = FMC_MEMORY_TYPE_SRAM;
  hsram1.Init.MemoryDataWidth = FMC_NORSRAM_MEM_BUS_WIDTH_16;
  hsram1.Init.BurstAccessMode = FMC_BURST_ACCESS_MODE_DISABLE;
  hsram1.Init.WaitSignalPolarity = FMC_WAIT_SIGNAL_POLARITY_LOW;
  hsram1.Init.WaitSignalActive = FMC_WAIT_TIMING_BEFORE_WS;
  hsram1.Init.WriteOperation = FMC_WRITE_OPERATION_ENABLE;
  hsram1.Init.WaitSignal = FMC_WAIT_SIGNAL_DISABLE;
  hsram1.Init.ExtendedMode = FMC_EXTENDED_MODE_DISABLE;
  hsram1.Init.AsynchronousWait = FMC_ASYNCHRONOUS_WAIT_DISABLE;
  hsram1.Init.WriteBurst = FMC_WRITE_BURST_DISABLE;
  hsram1.Init.ContinuousClock = FMC_CONTINUOUS_CLOCK_SYNC_ONLY;
  hsram1.Init.WriteFifo = FMC_WRITE_FIFO_ENABLE;
  hsram1.Init.PageSize = FMC_PAGE_SIZE_NONE;
  /* Timing */
  Timing.AddressSetupTime = 15;
  Timing.AddressHoldTime = 15;
  Timing.DataSetupTime = 255;
  Timing.BusTurnAroundDuration = 15;
  Timing.CLKDivision = 16;
  Timing.DataLatency = 17;
  Timing.AccessMode = FMC_ACCESS_MODE_A;
  /* ExtTiming */

  if (HAL_SRAM_Init(&hsram1, &Timing, NULL) != HAL_OK)
  {
    Error_Handler( );
  }

}

static void MX_GPIO_Init(void)
{

  /* GPIO Ports Clock Enable */
  __HAL_RCC_GPIOF_CLK_ENABLE();
  __HAL_RCC_GPIOH_CLK_ENABLE();
  __HAL_RCC_GPIOC_CLK_ENABLE();
  __HAL_RCC_GPIOA_CLK_ENABLE();
  __HAL_RCC_GPIOB_CLK_ENABLE();
  __HAL_RCC_GPIOE_CLK_ENABLE();
  __HAL_RCC_GPIOD_CLK_ENABLE();
  __HAL_RCC_GPIOG_CLK_ENABLE();

}

 /* MPU Configuration */

void MPU_Config(void)
{
  MPU_Region_InitTypeDef MPU_InitStruct = {0};

  /* Disables the MPU */
  HAL_MPU_Disable();

  /** Initializes and configures the Region and the memory to be protected
  */
  MPU_InitStruct.Enable = MPU_REGION_ENABLE;
  MPU_InitStruct.Number = MPU_REGION_NUMBER0;
  MPU_InitStruct.BaseAddress = 0x0;
  MPU_InitStruct.Size = MPU_REGION_SIZE_4GB;
  MPU_InitStruct.SubRegionDisable = 0x87;
  MPU_InitStruct.TypeExtField = MPU_TEX_LEVEL0;
  MPU_InitStruct.AccessPermission = MPU_REGION_NO_ACCESS;
  MPU_InitStruct.DisableExec = MPU_INSTRUCTION_ACCESS_DISABLE;
  MPU_InitStruct.IsShareable = MPU_ACCESS_SHAREABLE;
  MPU_InitStruct.IsCacheable = MPU_ACCESS_NOT_CACHEABLE;
  MPU_InitStruct.IsBufferable = MPU_ACCESS_NOT_BUFFERABLE;

  HAL_MPU_ConfigRegion(&MPU_InitStruct);
  /* Enables the MPU */
  HAL_MPU_Enable(MPU_PRIVILEGED_DEFAULT);

}

void Error_Handler(void)
{
  __disable_irq();
  while (1)
  {
  }
}
